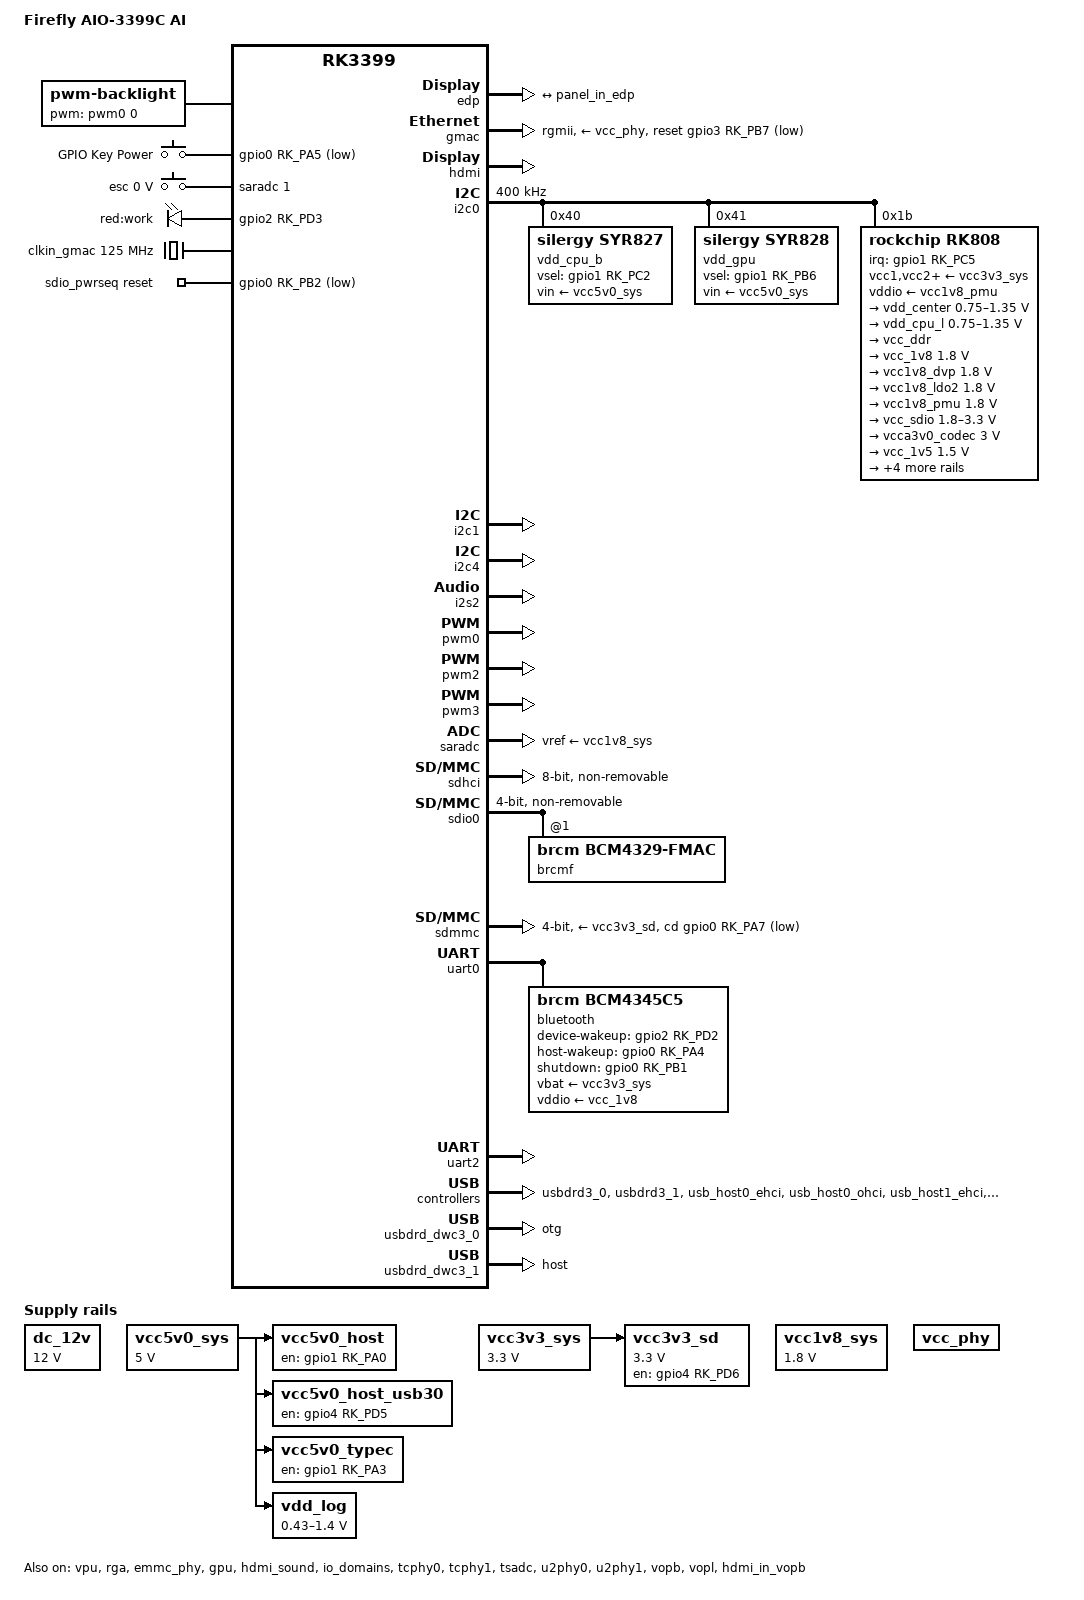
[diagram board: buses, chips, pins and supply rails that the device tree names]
// SPDX-License-Identifier: (GPL-2.0+ OR MIT)
/*
 * Copyright (C) 2025 kaixinos <kaixinos@outlook.com>
 */

/dts-v1/;
#include <dt-bindings/input/linux-event-codes.h>
#include <dt-bindings/leds/common.h>
#include <dt-bindings/pwm/pwm.h>
#include "rk3399-op1.dtsi"

/ {
	model = "Firefly AIO-3399C AI";
	compatible = "firefly,aio-3399c-ai", "rockchip,rk3399";

	aliases {
		ethernet0 = &gmac;
		mmc0 = &sdio0;
		mmc1 = &sdmmc;
		mmc2 = &sdhci;
	};

	backlight: backlight {
		compatible = "pwm-backlight";
		brightness-levels = <
			  0   1   2   3   4   5   6   7
			  8   9  10  11  12  13  14  15
			 16  17  18  19  20  21  22  23
			 24  25  26  27  28  29  30  31
			 32  33  34  35  36  37  38  39
			 40  41  42  43  44  45  46  47
			 48  49  50  51  52  53  54  55
			 56  57  58  59  60  61  62  63
			 64  65  66  67  68  69  70  71
			 72  73  74  75  76  77  78  79
			 80  81  82  83  84  85  86  87
			 88  89  90  91  92  93  94  95
			 96  97  98  99 100 101 102 103
			104 105 106 107 108 109 110 111
			112 113 114 115 116 117 118 119
			120 121 122 123 124 125 126 127
			128 129 130 131 132 133 134 135
			136 137 138 139 140 141 142 143
			144 145 146 147 148 149 150 151
			152 153 154 155 156 157 158 159
			160 161 162 163 164 165 166 167
			168 169 170 171 172 173 174 175
			176 177 178 179 180 181 182 183
			184 185 186 187 188 189 190 191
			192 193 194 195 196 197 198 199
			200 201 202 203 204 205 206 207
			208 209 210 211 212 213 214 215
			216 217 218 219 220 221 222 223
			224 225 226 227 228 229 230 231
			232 233 234 235 236 237 238 239
			240 241 242 243 244 245 246 247
			248 249 250 251 252 253 254 255>;
		default-brightness-level = <200>;
		pwms = <&pwm0 0 25000 0>;
	};

	chosen {
		stdout-path = "serial2:1500000n8";
	};

	dc_12v: dc-12v {
		compatible = "regulator-fixed";
		regulator-name = "dc_12v";
		regulator-always-on;
		regulator-boot-on;
		regulator-min-microvolt = <12000000>;
		regulator-max-microvolt = <12000000>;
	};

	vcc5v0_sys: vcc5v0-sys {
		compatible = "regulator-fixed";
		regulator-name = "vcc5v0_sys";
		regulator-always-on;
		regulator-boot-on;
		regulator-min-microvolt = <5000000>;
		regulator-max-microvolt = <5000000>;
		//vin-supply = <&dc_12v>;
	};

	vcc3v3_sys: vcc3v3-sys {
		compatible = "regulator-fixed";
		regulator-name = "vcc3v3_sys";
		regulator-always-on;
		regulator-boot-on;
		regulator-min-microvolt = <3300000>;
		regulator-max-microvolt = <3300000>;
		//vin-supply = <&vcc5v0_sys>;
	};

	vcc1v8_sys: vcc1v8-sys {
		compatible = "regulator-fixed";
		regulator-name = "vcc1v8_sys";
		regulator-always-on;
		regulator-boot-on;
		regulator-min-microvolt = <1800000>;
		regulator-max-microvolt = <1800000>;
	};

	vcc3v3_sd: vcc3v3-sd {
		compatible = "regulator-fixed";
		regulator-name = "vcc3v3_sd";
		enable-active-high;
		gpio = <&gpio4 RK_PD6 GPIO_ACTIVE_HIGH>;
		pinctrl-names = "default";
		pinctrl-0 = <&sdmmc0_pwr_h>;
		regulator-always-on;
		regulator-min-microvolt = <3300000>;
		regulator-max-microvolt = <3300000>;
		vin-supply = <&vcc3v3_sys>;
	};

	vcc5v0_host: vcc5v0-host {
		compatible = "regulator-fixed";
		regulator-name = "vcc5v0_host";
		enable-active-high;
		gpio = <&gpio1 RK_PA0 GPIO_ACTIVE_HIGH>;
		pinctrl-names = "default";
		pinctrl-0 = <&vcc5v0_host_en>;
		vin-supply = <&vcc5v0_sys>;
	};

	vcc_phy: vcc-phy-regulator {
		compatible = "regulator-fixed";
		regulator-name = "vcc_phy";
		regulator-always-on;
		regulator-boot-on;
	};

	vcc_phy: vcc-phy-regulator {
		compatible = "regulator-fixed";
		regulator-name = "vcc_phy";
		regulator-always-on;
		regulator-boot-on;
	};

	vcc5v0_host_usb30: vcc5v0-host-usb30 {
		compatible = "regulator-fixed";
		regulator-name = "vcc5v0_host_usb30";
		enable-active-high;
		gpio = <&gpio4 RK_PD5 GPIO_ACTIVE_HIGH>;
		pinctrl-names = "default";
		pinctrl-0 = <&vcc5v0_host_usb30_en>;
		regulator-always-on;
		vin-supply = <&vcc5v0_sys>;
	};

	vcc5v0_typec: vcc5v0-typec {
		compatible = "regulator-fixed";
		regulator-name = "vcc5v0_typec";
		enable-active-high;
		gpio = <&gpio1 RK_PA3 GPIO_ACTIVE_HIGH>;
		pinctrl-names = "default";
		pinctrl-0 = <&vcc5v0_typec_en>;
		vin-supply = <&vcc5v0_sys>;
	};

	vdd_log: vdd-log {
		compatible = "pwm-regulator";
		pwms = <&pwm2 0 25000 1>;
		regulator-name = "vdd_log";
		regulator-always-on;
		regulator-boot-on;
		regulator-min-microvolt = <430000>;
		regulator-max-microvolt = <1400000>;
		vin-supply = <&vcc5v0_sys>;
	};

	gpio-keys {
		compatible = "gpio-keys";
		autorepeat;
		pinctrl-names = "default";
		pinctrl-0 = <&power_key>;

		key-power {
			debounce-interval = <100>;
			gpios = <&gpio0 RK_PA5 GPIO_ACTIVE_LOW>;
			label = "GPIO Key Power";
			linux,code = <KEY_POWER>;
			wakeup-source;
		};
	};

	adc-keys {
		compatible = "adc-keys";
		io-channels = <&saradc 1>;
		io-channel-names = "buttons";
		keyup-threshold-microvolt = <1800000>;
		poll-interval = <300>;

		esc-key {
			label = "esc";
			linux,code = <KEY_ESC>;
			press-threshold-microvolt = <0>;
		};
	};

	leds {
		compatible = "gpio-leds";
		pinctrl-names = "default";
		pinctrl-0 = <&user_led0>;

		/* USER_LED */
		led-0 {
			label = "red:work";
			gpios = <&gpio2 RK_PD3 GPIO_ACTIVE_HIGH>;
			default-state = "on";
		};
	};

	clkin_gmac: external-gmac-clock {
		compatible = "fixed-clock";
		clock-frequency = <125000000>;
		clock-output-names = "clkin_gmac";
		#clock-cells = <0>;
	};

	sdio_pwrseq: sdio-pwrseq {
		compatible = "mmc-pwrseq-simple";
		clocks = <&rk808 1>;
		clock-names = "ext_clock";
		pinctrl-names = "default";
		pinctrl-0 = <&wifi_enable_h>;

		/*
		 * On the module itself this is one of these (depending
		 * on the actual card populated):
		 * - SDIO_RESET_L_WL_REG_ON
		 * - PDN (power down when low)
		 */
		reset-gpios = <&gpio0 RK_PB2 GPIO_ACTIVE_LOW>;
	};
};

&cpu_b0 {
	cpu-supply = <&vdd_cpu_b>;
};

&cpu_b1 {
	cpu-supply = <&vdd_cpu_b>;
};

&cpu_l0 {
	cpu-supply = <&vdd_cpu_l>;
};

&cpu_l1 {
	cpu-supply = <&vdd_cpu_l>;
};

&cpu_l2 {
	cpu-supply = <&vdd_cpu_l>;
};

&cpu_l3 {
	cpu-supply = <&vdd_cpu_l>;
};

&cpu_b0 {
	cpu-supply = <&vdd_cpu_b>;
};

&cpu_b1 {
	cpu-supply = <&vdd_cpu_b>;
};

&vpu {
	status = "okay";
};

&rga {
	status = "okay";
};

&edp {
	status = "okay";
	force-hpd;

	ports {
		edp_out: port@1 {
			reg = <1>;
			#address-cells = <1>;
			#size-cells = <0>;

			edp_out_panel: endpoint@0 {
				reg = <0>;
				remote-endpoint = <&panel_in_edp>;
			};
		};
	};
};

&emmc_phy {
	status = "okay";
};

&gmac {
	assigned-clock-parents = <&clkin_gmac>;
	assigned-clocks = <&cru SCLK_RMII_SRC>;
	clock_in_out = "input";
	pinctrl-names = "default";
	pinctrl-0 = <&rgmii_pins>;
	snps,reset-gpio = <&gpio3 RK_PB7 GPIO_ACTIVE_LOW>;
	snps,reset-active-low;
	snps,reset-delays-us = <0 10000 50000>;
	phy-mode = "rgmii";
	phy-supply = <&vcc_phy>;
	tx_delay = <0x2f>;
	rx_delay = <0x26>;
	status = "okay";
};

&gpu {
	mali-supply = <&vdd_gpu>;
	status = "okay";
};

&hdmi {
	pinctrl-names = "default";
	pinctrl-0 = <&hdmi_i2c_xfer>, <&hdmi_cec>;
	status = "okay";
};

&hdmi_sound {
	status = "okay";
};

&i2c0 {
	clock-frequency = <400000>;
	i2c-scl-rising-time-ns = <168>;
	i2c-scl-falling-time-ns = <4>;
	status = "okay";

	vdd_cpu_b: regulator@40 {
		compatible = "silergy,syr827";
		reg = <0x40>;
		fcs,suspend-voltage-selector = <1>;
		regulator-compatible = "fan53555-reg";
		vsel-gpios = <&gpio1 RK_PC2 GPIO_ACTIVE_HIGH>;
		pinctrl-names = "default";
		pinctrl-0 = <&vsel1_pin>;
		regulator-always-on;
		regulator-boot-on;
		regulator-min-microvolt = <712500>;
		regulator-max-microvolt = <1500000>;
		regulator-name = "vdd_cpu_b";
		regulator-ramp-delay = <1000>;
		vin-supply = <&vcc5v0_sys>;

		regulator-state-mem {
			regulator-off-in-suspend;
		};
	};

	vdd_gpu: regulator@41 {
		compatible = "silergy,syr828";
		reg = <0x41>;
		fcs,suspend-voltage-selector = <1>;
		regulator-compatible = "fan53555-reg";
		vsel-gpios = <&gpio1 RK_PB6 GPIO_ACTIVE_HIGH>;
		pinctrl-names = "default";
		pinctrl-0 = <&vsel2_pin>;
		regulator-always-on;
		regulator-boot-on;
		regulator-min-microvolt = <712500>;
		regulator-max-microvolt = <1500000>;
		regulator-name = "vdd_gpu";
		regulator-ramp-delay = <1000>;
		vin-supply = <&vcc5v0_sys>;

		regulator-state-mem {
			regulator-off-in-suspend;
		};
	};

	rk808: pmic@1b {
		compatible = "rockchip,rk808";
		reg = <0x1b>;
		clock-output-names = "xin32k", "rk808-clkout2";
		#clock-cells = <1>;
		interrupt-parent = <&gpio1>;
		interrupts = <RK_PC5 IRQ_TYPE_LEVEL_LOW>;
		pinctrl-names = "default";
		pinctrl-0 = <&pmic_int_l>;
		rockchip,system-power-controller;
		wakeup-source;

		vcc1-supply = <&vcc3v3_sys>;
		vcc2-supply = <&vcc3v3_sys>;
		vcc3-supply = <&vcc3v3_sys>;
		vcc4-supply = <&vcc3v3_sys>;
		vcc6-supply = <&vcc3v3_sys>;
		vcc7-supply = <&vcc3v3_sys>;
		vcc8-supply = <&vcc3v3_sys>;
		vcc9-supply = <&vcc3v3_sys>;
		vcc10-supply = <&vcc3v3_sys>;
		vcc11-supply = <&vcc3v3_sys>;
		vcc12-supply = <&vcc3v3_sys>;
		vddio-supply = <&vcc1v8_pmu>;

		regulators {
			vdd_center: DCDC_REG1 {
				regulator-always-on;
				regulator-boot-on;
				regulator-min-microvolt = <750000>;
				regulator-max-microvolt = <1350000>;
				regulator-ramp-delay = <6001>;
				regulator-name = "vdd_center";
				regulator-state-mem {
					regulator-on-in-suspend;
					regulator-suspend-microvolt = <900000>;
				};
			};

			vdd_cpu_l: DCDC_REG2 {
				regulator-always-on;
				regulator-boot-on;
				regulator-min-microvolt = <750000>;
				regulator-max-microvolt = <1350000>;
				regulator-ramp-delay = <6001>;
				regulator-name = "vdd_cpu_l";
				regulator-state-mem {
					regulator-off-in-suspend;
				};
			};

			vcc_ddr: DCDC_REG3 {

				regulator-always-on;
				regulator-boot-on;
				regulator-name = "vcc_ddr";

				regulator-state-mem {
					regulator-on-in-suspend;
				};
			};

			vcc_1v8: DCDC_REG4 {
				regulator-always-on;
				regulator-boot-on;
				regulator-min-microvolt = <1800000>;
				regulator-max-microvolt = <1800000>;
				regulator-name = "vcc_1v8";

				regulator-state-mem {
					regulator-on-in-suspend;
					regulator-suspend-microvolt = <1800000>;
				};
			};

			vcc1v8_dvp: LDO_REG1 {
				regulator-always-on;
				regulator-boot-on;
				regulator-min-microvolt = <1800000>;
				regulator-max-microvolt = <1800000>;
				regulator-name = "vcc1v8_dvp";

				regulator-state-mem {
					regulator-off-in-suspend;
				};
			};

			vcc1v8_ldo2: LDO_REG2 {
				regulator-always-on;
				regulator-boot-on;
				regulator-min-microvolt = <1800000>;
				regulator-max-microvolt = <1800000>;
				regulator-name = "vcc1v8_ldo2";

				regulator-state-mem {
					regulator-off-in-suspend;
				};
			};

			vcc1v8_pmu: LDO_REG3 {
				regulator-always-on;
				regulator-boot-on;
				regulator-min-microvolt = <1800000>;
				regulator-max-microvolt = <1800000>;
				regulator-name = "vcc1v8_pmu";

				regulator-state-mem {
					regulator-on-in-suspend;
					regulator-suspend-microvolt = <1800000>;
				};
			};

			vcc_sdio: LDO_REG4 {
				regulator-always-on;
				regulator-boot-on;
				regulator-min-microvolt = <1800000>;
				regulator-max-microvolt = <3300000>;
				regulator-name = "vcc_sdio";

				regulator-state-mem {
					regulator-on-in-suspend;
					regulator-suspend-microvolt = <3000000>;
				};
			};

			vcca3v0_codec: LDO_REG5 {
				regulator-always-on;
				regulator-boot-on;
				regulator-min-microvolt = <3000000>;
				regulator-max-microvolt = <3000000>;
				regulator-name = "vcca3v0_codec";

				regulator-state-mem {
					regulator-off-in-suspend;
				};
			};

			vcc_1v5: LDO_REG6 {
				regulator-always-on;
				regulator-boot-on;
				regulator-min-microvolt = <1500000>;
				regulator-max-microvolt = <1500000>;
				regulator-name = "vcc_1v5";

				regulator-state-mem {
					regulator-on-in-suspend;
					regulator-suspend-microvolt = <1500000>;
				};
			};

			vcca0v9_codec: LDO_REG7 {
				regulator-always-on;
				regulator-boot-on;
				regulator-min-microvolt = <900000>;
				regulator-max-microvolt = <900000>;
				regulator-name = "vcca0v9_codec";

				regulator-state-mem {
					regulator-off-in-suspend;
				};
			};

			vcc_3v0: LDO_REG8 {
				regulator-always-on;
				regulator-boot-on;
				regulator-min-microvolt = <3000000>;
				regulator-max-microvolt = <3000000>;
				regulator-name = "vcc_3v0";

				regulator-state-mem {
					regulator-on-in-suspend;
					regulator-suspend-microvolt = <3000000>;
				};
			};

			vcc3v3_s3: SWITCH_REG1 {
				regulator-always-on;
				regulator-boot-on;
				regulator-name = "vcc3v3_s3";
				regulator-state-mem {
					regulator-off-in-suspend;
				};
			};

			vcc3v3_s0: SWITCH_REG2 {
				regulator-always-on;
				regulator-boot-on;
				regulator-name = "vcc3v3_s0";
				regulator-state-mem {
					regulator-off-in-suspend;
				};
			};
		};
	};
};

&i2c1 {
	i2c-scl-rising-time-ns = <300>;
	i2c-scl-falling-time-ns = <15>;
	status = "okay";

};

&i2c3 {
	status = "disabled";
};

&i2c4 {
	i2c-scl-rising-time-ns = <475>;
	i2c-scl-falling-time-ns = <26>;
	status = "okay";


};

&i2s0 {
	status = "disabled";
};

&i2s1 {
	status = "disabled";
};

&i2s2 {
	status = "okay";
};

&io_domains {
	bt656-supply = <&vcc_3v0>;		/* APIO2_VDD */
	audio-supply = <&vcca0v9_codec>;	/* APIO5_VDD */
	sdmmc-supply = <&vcc_sdio>;		/* SDMMC0_VDD */
	gpio1830-supply = <&vcc_3v0>;		/* APIO4_VDD */
	status = "okay";
};

&pcie_phy {
	status = "disabled";
};

&pcie0 {
	status = "disabled";
};

&pinctrl {
	pinctrl-names = "default";
	pinctrl-0 = <&host_hub_vcc>;

	pmic {
		pmic_int_l: pmic-int-l {
			rockchip,pins =
				<1 RK_PC5 RK_FUNC_GPIO &pcfg_pull_up>;
		};

		vsel1_pin: vsel1-pin {
			rockchip,pins =
				<1 RK_PC2 RK_FUNC_GPIO &pcfg_pull_down>;
		};

		vsel2_pin: vsel2-pin {
			rockchip,pins =
				<1 RK_PB6 RK_FUNC_GPIO &pcfg_pull_down>;
		};
	};

	sd {
		sdmmc0_pwr_h: sdmmc0-pwr-h {
			rockchip,pins =
				<4 RK_PD6 RK_FUNC_GPIO &pcfg_pull_up>;
		};
	};

	host-hub-vcc {
		host_hub_vcc: host-hub-vcc {
			rockchip,pins =
				<1 RK_PC7 RK_FUNC_GPIO &pcfg_output_high>,
				<2 RK_PA4 RK_FUNC_GPIO &pcfg_output_high>;	/* USB2.0 HUB RESET */
		};
	};

	usb2 {
		vcc5v0_host_en: vcc5v0-host-en {
			rockchip,pins =
				<1 RK_PA0 RK_FUNC_GPIO &pcfg_pull_none>;
		};
	};

	usb-typec {
		vcc5v0_typec_en: vcc5v0-typec-en {
			rockchip,pins =
				<1 RK_PA3 RK_FUNC_GPIO &pcfg_pull_none>;
		};
	};

	usb3 {
		vcc5v0_host_usb30_en: vcc5v0-host-usb30-en {
			rockchip,pins =
				<4 RK_PD5 RK_FUNC_GPIO &pcfg_pull_none>;
		};
	};

	rockchip-key {
		power_key: power-key {
			rockchip,pins =
				<0 RK_PA5 RK_FUNC_GPIO &pcfg_pull_up>;
		};
	};

	leds {
		user_led0: user-led0 {
			rockchip,pins =
				<2 RK_PD3 RK_FUNC_GPIO &pcfg_pull_none>;
		};
	};

	wifi {
		wifi_enable_h: wifi-enable-h {
			rockchip,pins =
				<0 RK_PB2 RK_FUNC_GPIO &pcfg_pull_none>;
		};

		wifi_host_wake_l: wifi-host-wake-l {
			rockchip,pins =
				<0 RK_PA3 RK_FUNC_GPIO &pcfg_pull_down>;
		};
	};

	bt {
		bt_enable_h: bt-enable-h {
			rockchip,pins =
				<0 RK_PB1 RK_FUNC_GPIO &pcfg_pull_none>;
		};

		bt_wake_l: bt-wake-l {
			rockchip,pins =
				<2 RK_PD2 RK_FUNC_GPIO &pcfg_pull_none>;
		};

		bt_host_wake_l: bt-host-wake-l {
			rockchip,pins =
				<0 RK_PA4 RK_FUNC_GPIO &pcfg_pull_none>;
		};
	};
};

&pmu_io_domains {
	pmu1830-supply = <&vcc_3v0>;		/* PMUIO2_VDD */
	status = "okay";
};

&pwm0 {
	status = "okay";
};


&pwm2 {
	pinctrl-names = "active";
	pinctrl-0 = <&pwm2_pin>;
	status = "okay";
};

&pwm3 {
	status = "okay";
};

&saradc {
	vref-supply = <&vcc1v8_sys>;
	status = "okay";
};

&sdhci {
	//max-frequency = <150000000>;
	bus-width = <8>;
	mmc-hs200-1_8v;
	//mmc-hs400-1_8v;
	//mmc-hs400-enhanced-strobe;
	//keep-power-in-suspend;
	non-removable;
	status = "okay";
};


&sdio0 {
	#address-cells = <1>;
	#size-cells = <0>;

	clock-frequency = <50000000>;
	max-frequency = <50000000>;
	bus-width = <4>;
	cap-sd-highspeed;
	disable-wp;
	cap-sdio-irq;
	keep-power-in-suspend;
	mmc-pwrseq = <&sdio_pwrseq>;
	non-removable;
	pinctrl-names = "default";
	pinctrl-0 = <&sdio0_bus4 &sdio0_cmd &sdio0_clk>;
	sd-uhs-sdr104;
	status = "okay";

	brcmf: wifi@1 {
		compatible = "brcm,bcm4329-fmac";
		reg = <1>;
		//interrupt-parent = <&gpio0>;
		////interrupts = <RK_PA3 IRQ_TYPE_LEVEL_HIGH>;	/* WIFI wake Host irq */
		//interrupts = <RK_PA3 GPIO_ACTIVE_HIGH>;
		//interrupt-names = "host-wake";
		pinctrl-names = "default";
		pinctrl-0 = <&wifi_host_wake_l>;
	};
};

&sdmmc {

	clock-frequency = <150000000>;
	max-frequency = <150000000>;
	bus-width = <4>;
	cap-sd-highspeed;
	cap-mmc-highspeed;
	cd-gpios = <&gpio0 RK_PA7 GPIO_ACTIVE_LOW>;
	disable-wp;
	pinctrl-names = "default";
	pinctrl-0 = <&sdmmc_clk &sdmmc_cmd &sdmmc_bus4 &sdmmc_cd>;
	sd-uhs-sdr104;
	vmmc-supply = <&vcc3v3_sd>;
	vqmmc-supply = <&vcc_sdio>;
	status = "okay";
};

&tcphy0 {
	status = "okay";
};

&tcphy1 {
	status = "okay";
};

&tsadc {
	/* tshut mode 0:CRU 1:GPIO */
	rockchip,hw-tshut-mode = <1>;
	/* tshut polarity 0:LOW 1:HIGH */
	rockchip,hw-tshut-polarity = <1>;
	status = "okay";
};

&u2phy0 {
	status = "okay";

	u2phy0_otg: otg-port {
		status = "okay";
		vbus-supply = <&vcc5v0_typec>;
	};

	u2phy0_host: host-port {
		status = "okay";
		phy-supply = <&vcc5v0_host>;
	};
};

&u2phy1 {
	status = "okay";

	u2phy1_otg: otg-port {
		status = "okay";
	};

	u2phy1_host: host-port {
		status = "okay";
		phy-supply = <&vcc5v0_host>;
	};
};

&uart0 {
	pinctrl-names = "default";
	pinctrl-0 = <&uart0_xfer &uart0_cts &uart0_rts>;
	status = "okay";

	bluetooth {
		compatible = "brcm,bcm4345c5";
		clocks = <&rk808 1>;
		clock-names = "ext_clock";
		device-wakeup-gpios = <&gpio2 RK_PD2 GPIO_ACTIVE_HIGH>;	/* Host wake BT */
		host-wakeup-gpios = <&gpio0 RK_PA4 GPIO_ACTIVE_HIGH>;	/* BT wake Host, irq*/
		shutdown-gpios = <&gpio0 RK_PB1 GPIO_ACTIVE_HIGH>;
		max-speed = <1500000>;
		pinctrl-names = "default";
		pinctrl-0 = <&bt_enable_h &bt_wake_l &bt_host_wake_l>;
		vbat-supply = <&vcc3v3_sys>;
		vddio-supply = <&vcc_1v8>;
	};
};

&uart2 {
	status = "okay";
};

&usbdrd3_0 {
	status = "okay";
};

&usbdrd3_1 {
	status = "okay";
};

&usbdrd_dwc3_0 {
	status = "okay";
	extcon = <&u2phy0>;
	dr_mode = "otg";
};

&usbdrd_dwc3_1 {
	dr_mode = "host";
	status = "okay";
};

&usb_host0_ehci {
	status = "okay";
};

&usb_host0_ohci {
	status = "okay";
};

&usb_host1_ehci {
	status = "okay";
};

&usb_host1_ohci {
	status = "okay";
};

&vopb {
	status = "okay";
};

&vopb_mmu {
	status = "okay";
};

&vopl {
	status = "okay";
};

&vopl_mmu {
	status = "okay";
};

&hdmi_in_vopb {
	status = "okay";
};

&hdmi_in_vopl {
	status = "disabled";
};

&cdn_dp {
	status = "disabled";
};
